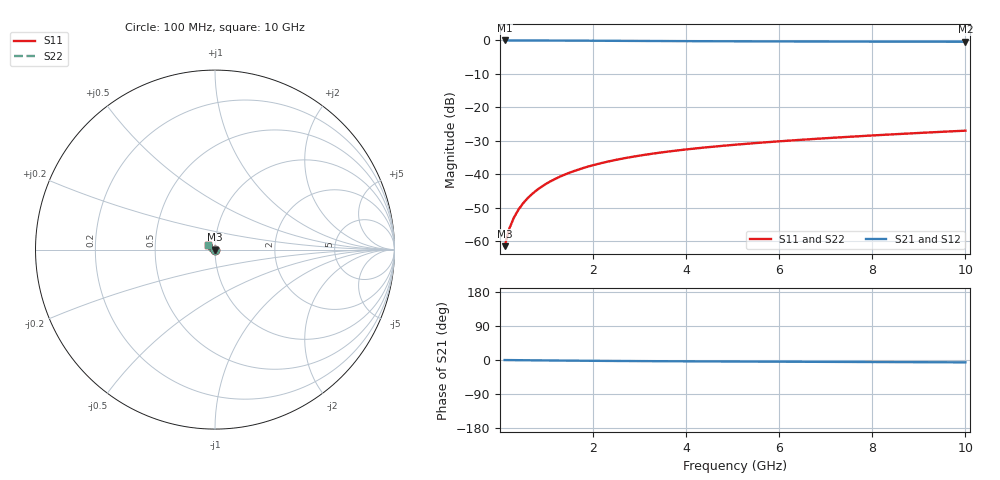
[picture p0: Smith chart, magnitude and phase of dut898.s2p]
! Touchstone file exported from HFSS 2024.1.0
!  File:  C:/UserFiles/LocalFiles/RDL_TSV_Batchsim/temp_TSV1_898_1779885552.aedt
!  Generated:  08:46:15 PM May 27, 2026
!  Design:  TSV1
!  Project:  temp_TSV1_898_1779885552
!  Setup:  Setup1
!  Solution:  Sweep
! Variables:
!  dtsv = 6.16um
!  hbump = 3um
!  htsv = 94.28um
!  lrdl = 252.1521522um
!  p = 40
!  p1 = 50.59um
!  t = 500um
!  trdl = 3um
!  wrdl = 24.89489489um
# GHz S MA R 50.000000
! Terminal data exported
! Port[1] = TSV22_T1
! Port[2] = TSV22_T2
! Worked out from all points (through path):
!   100 points, 100 MHz to 10 GHz, reference 50 ohm
!   highest |S21| = 0.00 dB at 100 MHz (marker M1); lowest = -0.4 dB at 10 GHz (marker M2)
!   lowest |S11| = -61.6 dB at 100 MHz (marker M3), VSWR 1.00, Z = 50 - j0.0741 ohm
!   |S11| at or under -10 dB: start of sweep to end of sweep
!   |S22| runs from -61.6 to -27.0 dB; largest |S21 - S12| = 5.2e-15
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0.1  0.0008366 -62.3  0.9996 -0.1  0.9996 -0.1  0.0008366 -62.3
! Gamma 0 0 0 0
! Port Impedance 50 0 50 0
0.2  0.001526 -78.4  0.9995 -0.2  0.9995 -0.2  0.001526 -78.4
0.3  0.002243 -85.7  0.9993 -0.4  0.9993 -0.4  0.002243 -85.7
0.4  0.002965 -90.5  0.9991 -0.5  0.9991 -0.5  0.002965 -90.5
0.5  0.003687 -94.3  0.9988 -0.6  0.9988 -0.6  0.003687 -94.3
0.6  0.004406 -97.5  0.9985 -0.7  0.9985 -0.7  0.004406 -97.5
0.7  0.005119 -100.4  0.9982 -0.8  0.9982 -0.8  0.005119 -100.4
0.8  0.005827 -103.1  0.9978 -0.9  0.9978 -0.9  0.005827 -103.1
0.9  0.006527 -105.7  0.9973 -1.0  0.9973 -1.0  0.006527 -105.7
1.1  0.007904 -110.5  0.9963 -1.3  0.9963 -1.3  0.007904 -110.5
1.4  0.009899 -117.2  0.9946 -1.6  0.9946 -1.6  0.009899 -117.2
1.6  0.01118 -121.4  0.9932 -1.8  0.9932 -1.8  0.01118 -121.4
1.8  0.01241 -125.5  0.9918 -2.0  0.9918 -2.0  0.01241 -125.5
2.1  0.01418 -131.3  0.9896 -2.2  0.9896 -2.2  0.01418 -131.3
2.5  0.01639 -138.6  0.9866 -2.5  0.9866 -2.5  0.01639 -138.6
2.9  0.01844 -145.3  0.9836 -2.8  0.9836 -2.8  0.01844 -145.3
3.4  0.0208 -153.1  0.9801 -3.1  0.9801 -3.1  0.0208 -153.1
4.2  0.02422 -164.2  0.975 -3.6  0.975 -3.6  0.02422 -164.2
5.1  0.02771 -175.0  0.9703 -4.0  0.9703 -4.0  0.02771 -175.0
6.7  0.03342 169.6  0.964 -4.8  0.964 -4.8  0.03343 169.6
8.4  0.03924 156.8  0.9595 -5.5  0.9595 -5.5  0.03925 156.8
10  0.0447 147.4  0.9564 -6.2  0.9564 -6.2  0.0447 147.4
